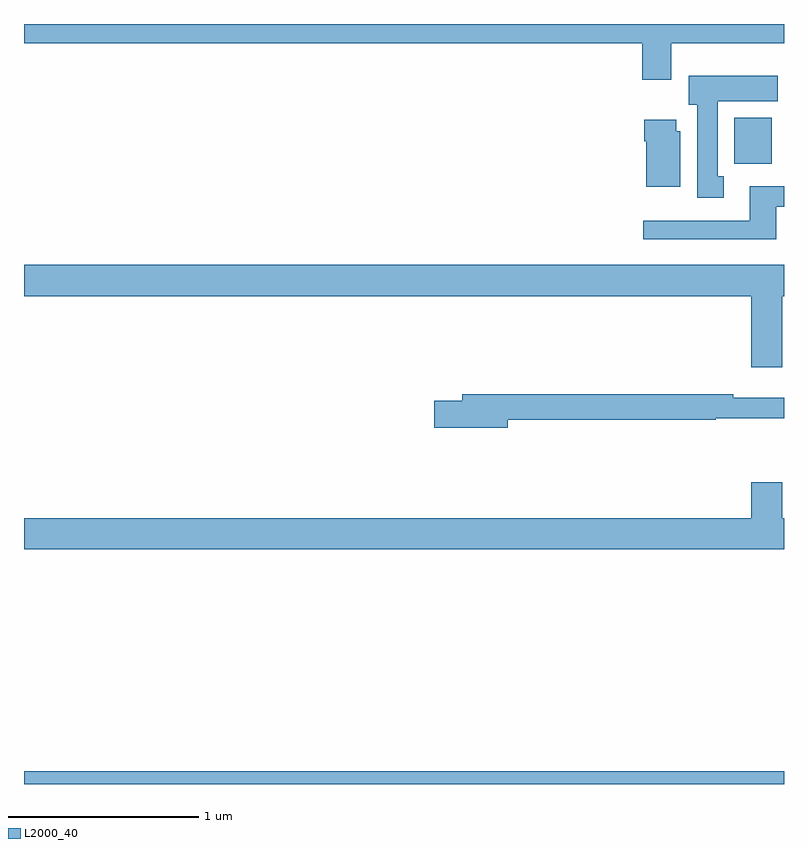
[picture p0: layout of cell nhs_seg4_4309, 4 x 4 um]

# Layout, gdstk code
import gdstk
lib = gdstk.Library(unit=1e-6, precision=1e-09)
def R(c, l, rs):  # rectangles x0, y0, x1, y1
    for r in rs: c.add(gdstk.rectangle(r[:2], r[2:], *l))
def P(c, l, *ps):  # polygons
    for p in ps: c.add(gdstk.Polygon(p, *l))
L2000_40 = (2000, 40)

nhs_seg4_4309 = lib.new_cell('nhs_seg4_4309')
R(nhs_seg4_4309, L2000_40, [(341,812.9,345,812.968), (344.738,816.164,344.935,816.406)])
P(nhs_seg4_4309, L2000_40, [(344.407,816.8),(345,816.8),(345,816.9),(341,816.9),(341,816.8),(344.255,816.8),(344.255,816.606),(344.407,816.606)],
  [(344.683,816.098),(344.65,816.098),(344.65,816.494),(344.968,816.494),(344.968,816.628),(344.498,816.628),(344.498,816.474),(344.543,816.474),(344.543,815.985),(344.683,815.985)],
  [(344.455,816.336),(344.434,816.336),(344.434,816.397),(344.264,816.397),(344.264,816.284),(344.276,816.284),(344.276,816.044),(344.455,816.044)],
  [(344.959,815.937),(345,815.937),(345,816.046),(344.819,816.046),(344.819,815.865),(344.259,815.865),(344.259,815.768),(344.959,815.768)],
  [(344.992,815.468),(345,815.468),(345,815.632),(341,815.632),(341,815.468),(344.828,815.468),(344.828,815.094),(344.992,815.094)],
  [(343.546,814.816),(344.642,814.816),(344.642,814.824),(345,814.824),(345,814.933),(344.732,814.933),(344.732,814.952),(343.307,814.952),(343.307,814.916),(343.158,814.916),(343.158,814.774),(343.546,814.774)],
  [(345,814.3),(344.992,814.3),(344.992,814.489),(344.828,814.489),(344.828,814.3),(341,814.3),(341,814.136),(345,814.136)])

lib.write_gds('nhs_seg4_4309.gds')
